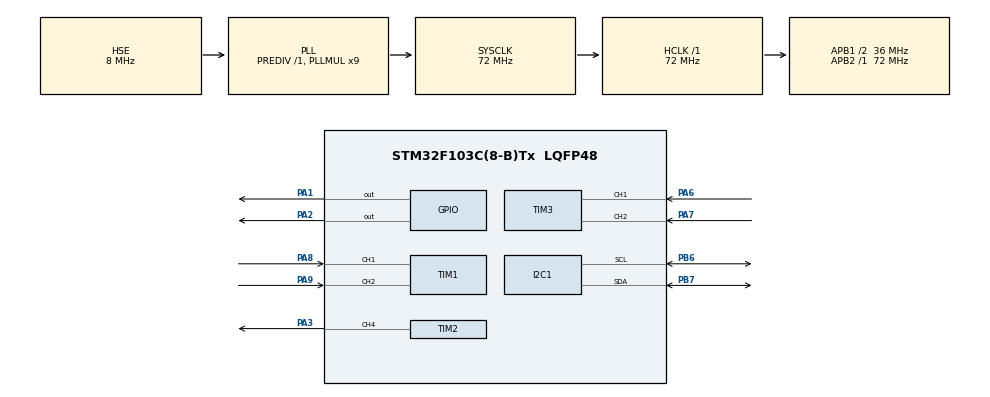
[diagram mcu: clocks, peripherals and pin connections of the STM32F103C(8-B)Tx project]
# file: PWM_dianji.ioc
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Mcu.Family=STM32F1
Mcu.Name=STM32F103C(8-B)Tx
Mcu.Package=LQFP48
NVIC.PriorityGroup=NVIC_PRIORITYGROUP_4
PA1.PinState=GPIO_PIN_SET
PA1.Signal=GPIO_Output
PA13.Mode=Serial_Wire
PA13.Signal=SYS_JTMS-SWDIO
PA14.Mode=Serial_Wire
PA14.Signal=SYS_JTCK-SWCLK
PA2.Signal=GPIO_Output
PA3.Signal=S_TIM2_CH4
PA6.GPIO_PuPd=GPIO_PULLUP
PA6.Signal=S_TIM3_CH1
PA7.Signal=S_TIM3_CH2
PA8.Signal=S_TIM1_CH1
PA9.Signal=S_TIM1_CH2
PB6.Mode=I2C
PB6.Signal=I2C1_SCL
PB7.Mode=I2C
PB7.Signal=I2C1_SDA
PD0-OSC_IN.Mode=HSE-External-Oscillator
PD0-OSC_IN.Signal=RCC_OSC_IN
PD1-OSC_OUT.Mode=HSE-External-Oscillator
PD1-OSC_OUT.Signal=RCC_OSC_OUT
ProjectManager.HeapSize=0x200
ProjectManager.StackSize=0x400
ProjectManager.TargetToolchain=CMake
RCC.AHBFreq_Value=72000000
RCC.APB1CLKDivider=RCC_HCLK_DIV2
RCC.APB1Freq_Value=36000000
RCC.APB1TimFreq_Value=72000000
RCC.APB2Freq_Value=72000000
RCC.APB2TimFreq_Value=72000000
RCC.HCLKFreq_Value=72000000
RCC.PLLMUL=RCC_PLL_MUL9
RCC.PLLSourceVirtual=RCC_PLLSOURCE_HSE
RCC.SYSCLKFreq_VALUE=72000000
RCC.SYSCLKSource=RCC_SYSCLKSOURCE_PLLCLK
RCC.USBFreq_Value=72000000
SH.S_TIM1_CH1.0=TIM1_CH1,Encoder_Interface
SH.S_TIM1_CH2.0=TIM1_CH2,Encoder_Interface
SH.S_TIM2_CH4.0=TIM2_CH4,PWM Generation4 CH4
SH.S_TIM3_CH1.0=TIM3_CH1,Encoder_Interface
SH.S_TIM3_CH2.0=TIM3_CH2,Encoder_Interface
TIM2.Channel-PWM\ Generation4\ CH4=TIM_CHANNEL_4
TIM2.Period=999
TIM2.Prescaler=3
TIM3.IC1Filter=15
VP_TIM2_VS_ClockSourceINT.Mode=Internal
board=custom

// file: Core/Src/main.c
/* USER CODE BEGIN Header */
/**
  ******************************************************************************
  * @file           : main.c
  * @brief          : Main program body
  ******************************************************************************
  * @attention
  *
  * Copyright (c) 2026 STMicroelectronics.
  * All rights reserved.
  *
  * This software is licensed under terms that can be found in the LICENSE file
  * in the root directory of this software component.
  * If no LICENSE file comes with this software, it is provided AS-IS.
  *
  ******************************************************************************
  */
/* USER CODE END Header */
#include "main.h"

/* USER CODE BEGIN Includes */
#include "OLED.h"
#include "stm32f103xb.h"
#include "stm32f1xx.h"
#include "stm32f1xx_hal.h"
#include "stm32f1xx_hal_gpio.h"
#include "stm32f1xx_hal_tim.h"
#include <stdint.h>
#include <stdio.h>
#include <string.h>
#include <sys/_intsup.h>
/* USER CODE END Includes */

/* USER CODE BEGIN PD */
#define CNT_MAX 100
#define CCR_MAX 1000
#define SPEED_TIME 10
#define OLED_TIME 100
/* USER CODE END PD */

I2C_HandleTypeDef hi2c1;

TIM_HandleTypeDef htim1;
TIM_HandleTypeDef htim2;
TIM_HandleTypeDef htim3;

void SystemClock_Config(void);
static void MX_GPIO_Init(void);
static void MX_I2C1_Init(void);
static void MX_TIM1_Init(void);
static void MX_TIM2_Init(void);
static void MX_TIM3_Init(void);

int main(void)
{

  /* USER CODE BEGIN 1 */
  int32_t counter = 0;
  int16_t speed = 0;
  uint32_t last_time = 0;
  char message_speed[14] = "" ;
  char message_counter[14] = "" ;
  int8_t dir = 0;
  int8_t last_dir = 0;
  uint8_t dengdai_tim = 0;
  uint16_t last_oled_time = 0;

  /* USER CODE END 1 */

  /* MCU Configuration--------------------------------------------------------*/

  /* Reset of all peripherals, Initializes the Flash interface and the Systick. */
  HAL_Init();

  /* Configure the system clock */
  SystemClock_Config();

  /* Initialize all configured peripherals */
  MX_GPIO_Init();
  MX_I2C1_Init();
  MX_TIM1_Init();
  MX_TIM2_Init();
  MX_TIM3_Init();
  /* USER CODE BEGIN 2 */
  HAL_TIM_PWM_Start(&htim2,TIM_CHANNEL_4);
  HAL_TIM_Encoder_Start(&htim1,TIM_CHANNEL_ALL);
  HAL_TIM_Encoder_Start(&htim3,TIM_CHANNEL_ALL);

  OLED_Init();
  /* USER CODE END 2 */

  /* Infinite loop */
  /* USER CODE BEGIN WHILE */
  while (1)
  {
    counter = (int32_t)(int16_t)__HAL_TIM_GET_COUNTER(&htim1) * 10;
    if(counter > CCR_MAX)
    {
      counter = CCR_MAX;
      __HAL_TIM_SET_COUNTER(&htim1,CNT_MAX);
    }
    if(counter < -CCR_MAX)
    {
      counter = -CCR_MAX;
      __HAL_TIM_SET_COUNTER(&htim1,(uint16_t)-CNT_MAX);
    }

    dir = (counter >= 0 ) ? 1 : -1;
    if(dir != last_dir)
    {
      __HAL_TIM_SET_COMPARE(&htim2,TIM_CHANNEL_4,0);
      __HAL_TIM_CLEAR_FLAG(&htim2,TIM_FLAG_UPDATE);
      dengdai_tim = HAL_GetTick();
      while ((__HAL_TIM_GET_FLAG(&htim2,TIM_FLAG_UPDATE) == RESET) && HAL_GetTick() - dengdai_tim < 1);
      last_dir = dir;
      dengdai_tim = 0;

      if(counter >= 0)
    {
      HAL_GPIO_WritePin(GPIOA,GPIO_PIN_1,GPIO_PIN_SET);
      HAL_GPIO_WritePin(GPIOA,GPIO_PIN_2,GPIO_PIN_RESET);
    }
    else if(counter < 0)
    {
      HAL_GPIO_WritePin(GPIOA,GPIO_PIN_1,GPIO_PIN_RESET);
      HAL_GPIO_WritePin(GPIOA,GPIO_PIN_2,GPIO_PIN_SET);
    }
    }

    if(counter >= 0)__HAL_TIM_SET_COMPARE(&htim2,TIM_CHANNEL_4,counter);
    else if(counter < 0)__HAL_TIM_SET_COMPARE(&htim2,TIM_CHANNEL_4,(uint16_t)-counter);

    if(HAL_GetTick() - last_time > SPEED_TIME)
    {
      speed = (int16_t)__HAL_TIM_GET_COUNTER(&htim3);
      __HAL_TIM_SET_COUNTER(&htim3,0);
      last_time = HAL_GetTick();
    }

    if(speed < 0)speed = -speed;

    if(HAL_GetTick() - last_oled_time >= OLED_TIME)
    {
      sprintf(message_speed,"speed:%5d",(int)speed);
      sprintf(message_counter,"counter:%5d",(int)counter);

      OLED_ShowString(1,0,message_speed,OLED_8X16);
      OLED_ShowString(1,16,message_counter,OLED_8X16);
      OLED_UpdateArea(0,0,128,32);
      last_oled_time = HAL_GetTick();
    }

    /* USER CODE END WHILE */

  }
}

void SystemClock_Config(void)
{
  RCC_OscInitTypeDef RCC_OscInitStruct = {0};
  RCC_ClkInitTypeDef RCC_ClkInitStruct = {0};

  /** Initializes the RCC Oscillators according to the specified parameters
  * in the RCC_OscInitTypeDef structure.
  */
  RCC_OscInitStruct.OscillatorType = RCC_OSCILLATORTYPE_HSE;
  RCC_OscInitStruct.HSEState = RCC_HSE_ON;
  RCC_OscInitStruct.HSEPredivValue = RCC_HSE_PREDIV_DIV1;
  RCC_OscInitStruct.HSIState = RCC_HSI_ON;
  RCC_OscInitStruct.PLL.PLLState = RCC_PLL_ON;
  RCC_OscInitStruct.PLL.PLLSource = RCC_PLLSOURCE_HSE;
  RCC_OscInitStruct.PLL.PLLMUL = RCC_PLL_MUL9;
  if (HAL_RCC_OscConfig(&RCC_OscInitStruct) != HAL_OK)
  {
    Error_Handler();
  }

  /** Initializes the CPU, AHB and APB buses clocks
  */
  RCC_ClkInitStruct.ClockType = RCC_CLOCKTYPE_HCLK|RCC_CLOCKTYPE_SYSCLK
                              |RCC_CLOCKTYPE_PCLK1|RCC_CLOCKTYPE_PCLK2;
  RCC_ClkInitStruct.SYSCLKSource = RCC_SYSCLKSOURCE_PLLCLK;
  RCC_ClkInitStruct.AHBCLKDivider = RCC_SYSCLK_DIV1;
  RCC_ClkInitStruct.APB1CLKDivider = RCC_HCLK_DIV2;
  RCC_ClkInitStruct.APB2CLKDivider = RCC_HCLK_DIV1;

  if (HAL_RCC_ClockConfig(&RCC_ClkInitStruct, FLASH_LATENCY_2) != HAL_OK)
  {
    Error_Handler();
  }
}

static void MX_I2C1_Init(void)
{

  hi2c1.Instance = I2C1;
  hi2c1.Init.ClockSpeed = 100000;
  hi2c1.Init.DutyCycle = I2C_DUTYCYCLE_2;
  hi2c1.Init.OwnAddress1 = 0;
  hi2c1.Init.AddressingMode = I2C_ADDRESSINGMODE_7BIT;
  hi2c1.Init.DualAddressMode = I2C_DUALADDRESS_DISABLE;
  hi2c1.Init.OwnAddress2 = 0;
  hi2c1.Init.GeneralCallMode = I2C_GENERALCALL_DISABLE;
  hi2c1.Init.NoStretchMode = I2C_NOSTRETCH_DISABLE;
  if (HAL_I2C_Init(&hi2c1) != HAL_OK)
  {
    Error_Handler();
  }

}

static void MX_TIM1_Init(void)
{

  TIM_Encoder_InitTypeDef sConfig = {0};
  TIM_MasterConfigTypeDef sMasterConfig = {0};

  htim1.Instance = TIM1;
  htim1.Init.Prescaler = 0;
  htim1.Init.CounterMode = TIM_COUNTERMODE_UP;
  htim1.Init.Period = 65535;
  htim1.Init.ClockDivision = TIM_CLOCKDIVISION_DIV1;
  htim1.Init.RepetitionCounter = 0;
  htim1.Init.AutoReloadPreload = TIM_AUTORELOAD_PRELOAD_DISABLE;
  sConfig.EncoderMode = TIM_ENCODERMODE_TI1;
  sConfig.IC1Polarity = TIM_ICPOLARITY_RISING;
  sConfig.IC1Selection = TIM_ICSELECTION_DIRECTTI;
  sConfig.IC1Prescaler = TIM_ICPSC_DIV1;
  sConfig.IC1Filter = 0;
  sConfig.IC2Polarity = TIM_ICPOLARITY_RISING;
  sConfig.IC2Selection = TIM_ICSELECTION_DIRECTTI;
  sConfig.IC2Prescaler = TIM_ICPSC_DIV1;
  sConfig.IC2Filter = 0;
  if (HAL_TIM_Encoder_Init(&htim1, &sConfig) != HAL_OK)
  {
    Error_Handler();
  }
  sMasterConfig.MasterOutputTrigger = TIM_TRGO_RESET;
  sMasterConfig.MasterSlaveMode = TIM_MASTERSLAVEMODE_DISABLE;
  if (HAL_TIMEx_MasterConfigSynchronization(&htim1, &sMasterConfig) != HAL_OK)
  {
    Error_Handler();
  }

}

static void MX_TIM2_Init(void)
{

  TIM_ClockConfigTypeDef sClockSourceConfig = {0};
  TIM_MasterConfigTypeDef sMasterConfig = {0};
  TIM_OC_InitTypeDef sConfigOC = {0};

  htim2.Instance = TIM2;
  htim2.Init.Prescaler = 71;
  htim2.Init.CounterMode = TIM_COUNTERMODE_UP;
  htim2.Init.Period = 999;
  htim2.Init.ClockDivision = TIM_CLOCKDIVISION_DIV1;
  htim2.Init.AutoReloadPreload = TIM_AUTORELOAD_PRELOAD_DISABLE;
  if (HAL_TIM_Base_Init(&htim2) != HAL_OK)
  {
    Error_Handler();
  }
  sClockSourceConfig.ClockSource = TIM_CLOCKSOURCE_INTERNAL;
  if (HAL_TIM_ConfigClockSource(&htim2, &sClockSourceConfig) != HAL_OK)
  {
    Error_Handler();
  }
  if (HAL_TIM_PWM_Init(&htim2) != HAL_OK)
  {
    Error_Handler();
  }
  sMasterConfig.MasterOutputTrigger = TIM_TRGO_RESET;
  sMasterConfig.MasterSlaveMode = TIM_MASTERSLAVEMODE_DISABLE;
  if (HAL_TIMEx_MasterConfigSynchronization(&htim2, &sMasterConfig) != HAL_OK)
  {
    Error_Handler();
  }
  sConfigOC.OCMode = TIM_OCMODE_PWM1;
  sConfigOC.Pulse = 0;
  sConfigOC.OCPolarity = TIM_OCPOLARITY_HIGH;
  sConfigOC.OCFastMode = TIM_OCFAST_DISABLE;
  if (HAL_TIM_PWM_ConfigChannel(&htim2, &sConfigOC, TIM_CHANNEL_4) != HAL_OK)
  {
    Error_Handler();
  }
  HAL_TIM_MspPostInit(&htim2);

}

static void MX_TIM3_Init(void)
{

  TIM_Encoder_InitTypeDef sConfig = {0};
  TIM_MasterConfigTypeDef sMasterConfig = {0};

  htim3.Instance = TIM3;
  htim3.Init.Prescaler = 0;
  htim3.Init.CounterMode = TIM_COUNTERMODE_UP;
  htim3.Init.Period = 65535;
  htim3.Init.ClockDivision = TIM_CLOCKDIVISION_DIV1;
  htim3.Init.AutoReloadPreload = TIM_AUTORELOAD_PRELOAD_DISABLE;
  sConfig.EncoderMode = TIM_ENCODERMODE_TI1;
  sConfig.IC1Polarity = TIM_ICPOLARITY_RISING;
  sConfig.IC1Selection = TIM_ICSELECTION_DIRECTTI;
  sConfig.IC1Prescaler = TIM_ICPSC_DIV1;
  sConfig.IC1Filter = 15;
  sConfig.IC2Polarity = TIM_ICPOLARITY_RISING;
  sConfig.IC2Selection = TIM_ICSELECTION_DIRECTTI;
  sConfig.IC2Prescaler = TIM_ICPSC_DIV1;
  sConfig.IC2Filter = 0;
  if (HAL_TIM_Encoder_Init(&htim3, &sConfig) != HAL_OK)
  {
    Error_Handler();
  }
  sMasterConfig.MasterOutputTrigger = TIM_TRGO_RESET;
  sMasterConfig.MasterSlaveMode = TIM_MASTERSLAVEMODE_DISABLE;
  if (HAL_TIMEx_MasterConfigSynchronization(&htim3, &sMasterConfig) != HAL_OK)
  {
    Error_Handler();
  }

}

static void MX_GPIO_Init(void)
{
  GPIO_InitTypeDef GPIO_InitStruct = {0};

  /* GPIO Ports Clock Enable */
  __HAL_RCC_GPIOD_CLK_ENABLE();
  __HAL_RCC_GPIOA_CLK_ENABLE();
  __HAL_RCC_GPIOB_CLK_ENABLE();

  /*Configure GPIO pin Output Level */
  HAL_GPIO_WritePin(GPIOA, GPIO_PIN_1, GPIO_PIN_SET);

  /*Configure GPIO pin Output Level */
  HAL_GPIO_WritePin(GPIOA, GPIO_PIN_2, GPIO_PIN_RESET);

  /*Configure GPIO pins : PA1 PA2 */
  GPIO_InitStruct.Pin = GPIO_PIN_1|GPIO_PIN_2;
  GPIO_InitStruct.Mode = GPIO_MODE_OUTPUT_PP;
  GPIO_InitStruct.Pull = GPIO_NOPULL;
  GPIO_InitStruct.Speed = GPIO_SPEED_FREQ_LOW;
  HAL_GPIO_Init(GPIOA, &GPIO_InitStruct);

}

void Error_Handler(void)
{
  __disable_irq();
  while (1)
  {
  }
}
